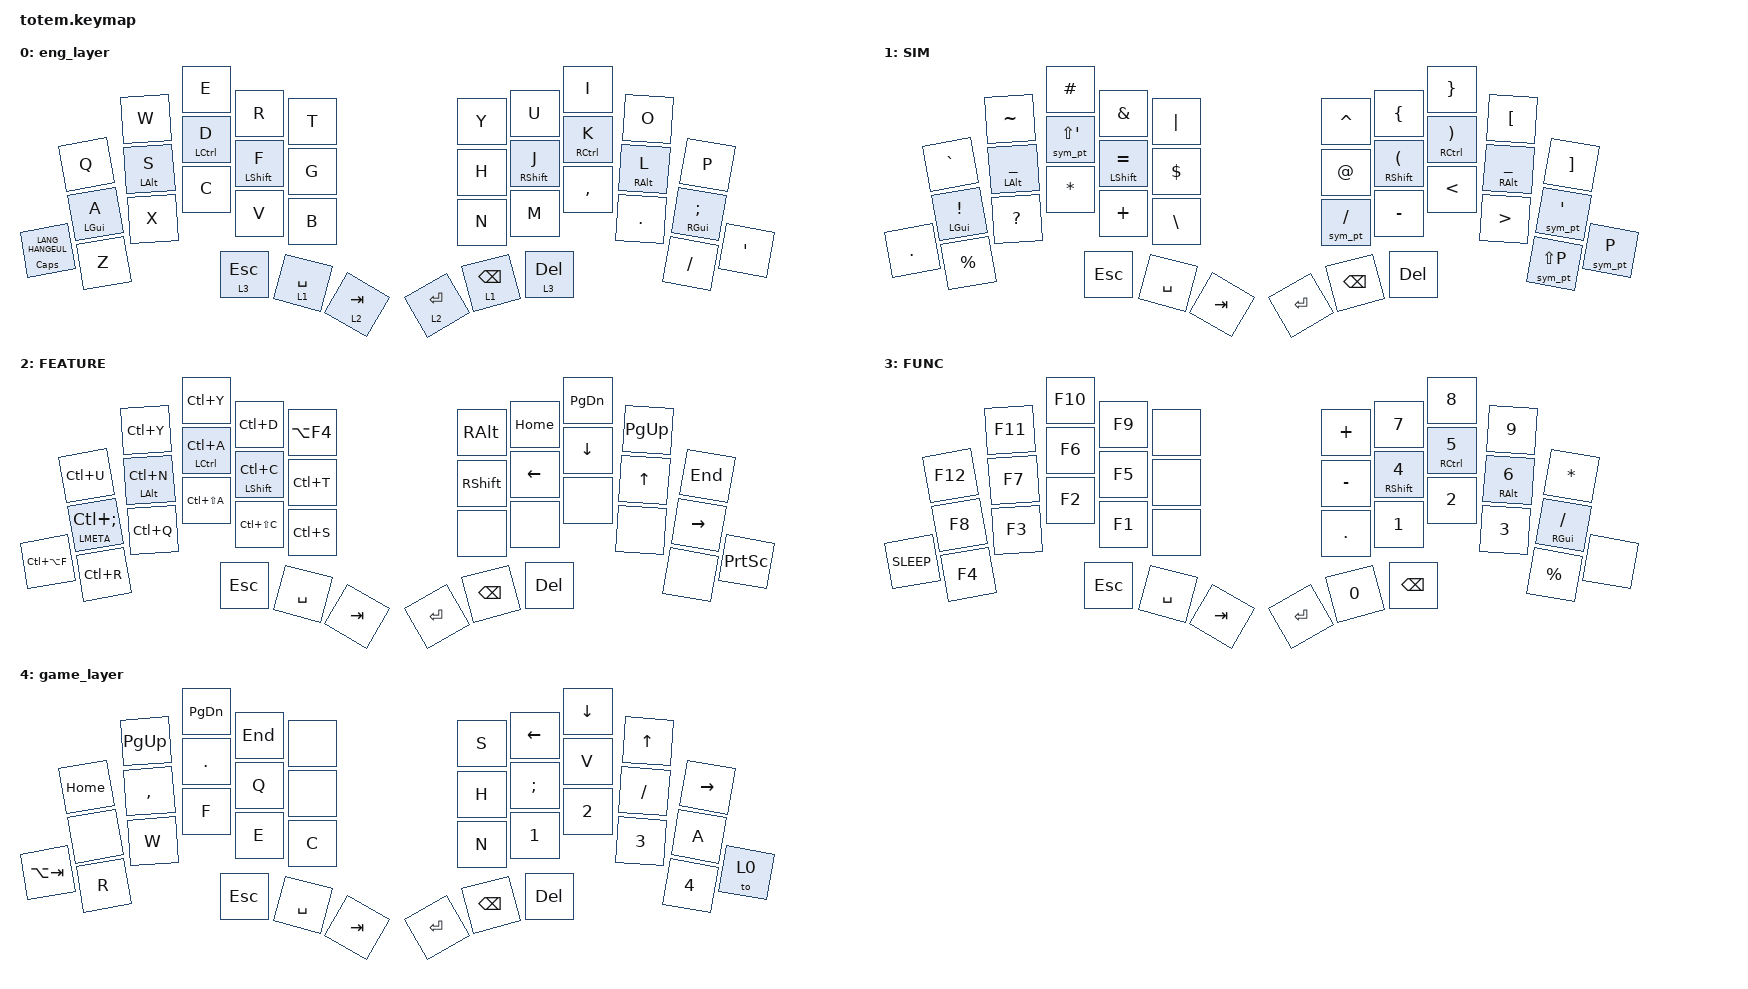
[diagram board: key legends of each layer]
//
//                                                        ▀▀▀▀▀     ▀▀▀▀▀          ▀▀█▀▀
//                                                        ▄▀▀▀▄  ▄  ▄▀▀▀▄  ▄  ▄▀▀▀▄  █  ▄▀▀▀▄
//                                                        █   █  █  █   █  █  █   █  █  █   █
//                                                         ▀▀▀   █   ▀▀▀   █   ▀▀▀   ▀   ▀▀▀
//                                                               █      ▄▄▄█▄▄▄    █   █
//                                                               ▀      █  █  █     █▄█
//                                                             ▀▀▀▀▀    █  █  █      ▀
//                                                                      ▀  ▀  ▀
//
// ▄▄▄▄▄▄▄▄▄▄▄▄▄▄▄▄▄▄▄▄▄▄▄▄▄▄▄▄▄▄▄▄▄▄▄▄▄▄▄▄▄▄▄▄▄▄▄▄▄▄▄▄▄▄▄▄▄▄▄▄▄▄▄▄▄▄▄▄▄▄▄▄▄▄▄▄▄▄▄▄▄▄▄▄▄▄▄▄▄▄▄▄▄▄▄▄▄▄▄▄▄▄▄▄▄▄▄▄▄▄▄▄▄▄▄▄▄▄▄▄▄▄▄▄▄▄▄▄▄▄▄▄▄▄▄▄▄▄▄▄▄▄▄▄▄▄▄▄▄

#include <behaviors.dtsi>
#include <dt-bindings/zmk/keys.h>

#define BASE 0
#define NAV  1
#define SYM  2
#define ADJ  3

&mt {
    quick-tap-ms = <100>;
    global-quick-tap;
    flavor = "tap-preferred";
    tapping-term-ms = <170>;
};

/ {
    combos {
        compatible = "zmk,combos";

        Left_Parenthesis {
            bindings = <&kp LEFT_PARENTHESIS>;
            key-positions = <3 2>;
            timeout-ms = <50>;
            layers = <2 3>;
        };

        Right_Parenthesis {
            bindings = <&kp RIGHT_PARENTHESIS>;
            key-positions = <6 7>;
            layers = <2 3>;
            timeout-ms = <50>;
        };

        Left_Brace {
            bindings = <&kp LEFT_BRACE>;
            key-positions = <1 2>;
            timeout-ms = <50>;
            layers = <2 3>;
        };

        Right_Brace {
            bindings = <&kp RIGHT_BRACE>;
            key-positions = <8 7>;
            timeout-ms = <50>;
            layers = <2 3>;
        };

        Right_Bracket {
            bindings = <&kp RIGHT_BRACKET>;
            key-positions = <16 17>;
            timeout-ms = <50>;
            layers = <2 3>;
        };

        Left_Bracket {
            bindings = <&kp LEFT_BRACKET>;
            key-positions = <13 12>;
            timeout-ms = <50>;
            layers = <3 2>;
        };

        Double_Quote {
            // Canary AD10+Shift = `"`. ZMK sends HID_P+Shift, INT5 wrap.

            bindings = <&sym_pt LS(P)>;
            key-positions = <18 17>;
            timeout-ms = <50>;
            layers = <3 2>;
        };

        Single_Quote {
            // Canary AD10 = `'`. ZMK sends HID_P, INT5 wrap.

            bindings = <&sym_pt P>;
            key-positions = <11 12>;
            timeout-ms = <50>;
            layers = <3 2>;
        };

        game {
            bindings = <&to 4>;
            key-positions = <20 31>;
            layers = <0>;
        };
    };

    behaviors {
        hm: homerow_mods {
            compatible = "zmk,behavior-hold-tap";
            label = "HOMEROW_MODS";
            bindings = <&kp>, <&kp>;

            #binding-cells = <2>;
            tapping-term-ms = <200>;
            quick-tap-ms = <130>;
            flavor = "tap-preferred";
        };
    };

    macros {
        // sym_pt: Sinsebeolsik P2 IME가 가로채는 키(`;`, `'`, `/`, `"`)를
        // INT5 (Muhenkan)으로 감싸 host로 강제 통과시킨다.
        // fcitx5-sinsebeolsik-p2의 INT5 passthrough 패치와 짝.
        // 사용 예: &sym_pt SEMICOLON   대신 &kp SEMICOLON

        sym_pt: sym_passthrough {
            compatible = "zmk,behavior-macro-one-param";
            #binding-cells = <1>;
            bindings =
                <&macro_press>,
                <&kp INT5 &macro_param_1to1>,
                <&macro_press>,
                <&kp MACRO_PLACEHOLDER>,
                <&macro_pause_for_release>,
                <&macro_param_1to1>,
                <&macro_release>,
                <&kp MACRO_PLACEHOLDER>,
                <&macro_release>,
                <&kp INT5>;
        };
    };

    keymap {
        compatible = "zmk,keymap";

        // ▄▄▄▄▄▄▄▄▄▄▄▄▄▄▄▄▄▄▄▄▄▄▄▄▄▄▄▄▄▄▄▄▄▄▄▄▄▄▄▄▄▄▄▄▄▄▄▄▄▄▄▄▄▄▄▄▄▄▄▄▄▄▄▄▄▄▄▄▄▄▄▄▄▄▄▄▄▄▄▄▄▄▄▄▄▄▄▄▄▄▄▄▄▄▄▄▄▄▄▄▄▄▄▄▄▄▄▄▄▄▄▄▄▄▄▄▄▄▄▄▄▄▄▄▄▄▄▄▄▄▄▄▄▄▄▄▄▄▄▄▄▄▄▄▄▄▄▄▄
        // ▄▄▄▄▄▄▄▄▄▄▄▄▄▄▄▄▄▄▄▄▄▄▄▄▄▄▄▄▄▄▄▄▄▄▄▄▄▄▄▄▄▄▄▄▄▄▄▄▄▄▄▄▄▄▄▄▄▄▄▄▄▄▄▄▄▄▄▄▄▄▄▄▄▄▄▄▄▄▄▄▄▄▄▄▄▄▄▄▄▄▄▄▄▄▄▄▄▄▄▄▄▄▄▄▄▄▄▄▄▄▄▄▄▄▄▄▄▄▄▄▄▄▄▄▄▄▄▄▄▄▄▄▄▄▄▄▄▄▄▄▄▄▄▄▄▄▄▄▄
        // ▄▄▄▄▄▄▄▄▄▄▄▄▄▄▄▄▄▄▄▄▄▄▄▄▄▄▄▄▄▄▄▄▄▄▄▄▄▄▄▄▄▄▄▄▄▄▄▄▄▄▄▄▄▄▄▄▄▄▄▄▄▄▄▄▄▄▄▄▄▄▄▄▄▄▄▄▄▄▄▄▄▄▄▄▄▄▄▄▄▄▄▄▄▄▄▄▄▄▄▄▄▄▄▄▄▄▄▄▄▄▄▄▄▄▄▄▄▄▄▄▄▄▄▄▄▄▄▄▄▄▄▄▄▄▄▄▄▄▄▄▄▄▄▄▄▄▄▄▄
        // ▄▄▄▄▄▄▄▄▄▄▄▄▄▄▄▄▄▄▄▄▄▄▄▄▄▄▄▄▄▄▄▄▄▄▄▄▄▄▄▄▄▄▄▄▄▄▄▄▄▄▄▄▄▄▄▄▄▄▄▄▄▄▄▄▄▄▄▄▄▄▄▄▄▄▄▄▄▄▄▄▄▄▄▄▄▄▄▄▄▄▄▄▄▄▄▄▄▄▄▄▄▄▄▄▄▄▄▄▄▄▄▄▄▄▄▄▄▄▄▄▄▄▄▄▄▄▄▄▄▄▄▄▄▄▄▄▄▄▄▄▄▄▄▄▄▄▄▄▄

        eng_layer {
            bindings = <
                       &kp Q       &kp W       &kp E        &kp R         &kp T        &kp Y        &kp U            &kp I        &kp O       &kp P
                       &hm LGUI A  &hm LALT S  &hm LCTRL D  &hm LSHIFT F  &kp G        &kp H        &hm RSHIFT J     &hm RCTRL K  &hm RALT L  &hm RGUI SEMICOLON
&hm CAPS LANG_HANGEUL  &kp Z       &kp X       &kp C        &kp V         &kp B        &kp N        &kp M            &kp COMMA    &kp DOT     &kp FSLH            &kp SQT
                                               &lt 3 ESC    &lt 1 SPACE   &lt 2 TAB    &lt 2 ENTER  &lt 1 BACKSPACE  &lt 3 DEL
            >;
        };

        sim_layer {
            // Canary noangle 레이아웃 + P2 IME 호환:
            //   ZMK keysym은 QWERTY HID 위치를 보내고, Canary가 그 위치를
            //   다른 글자로 매핑한다. 따라서 원하는 글자별로 적절한 HID를
            //   골라야 한다.
            //
            //   `:` ← Canary AC11+Shift (HID_APOS+Shift = LS(SQT))
            //   `;` ← Canary AC11        (HID_APOS = SQT)
            //   `/` ← Canary AB10        (HID_FSLH = FSLH)
            //   `"` ← Canary AD10+Shift  (HID_P+Shift = LS(P))
            //   `'` ← Canary AD10        (HID_P = P)
            //
            // 5글자 모두 sym_pt로 INT5 passthrough 처리.
            // (`:`는 P2 TOML이 literal commit하지만 그건 KEY_SEMI+Shift일 때만이고,
            //  Canary의 `:`는 KEY_APOS+Shift이므로 qwerty_translator가 `"`로 번역해
            //  `/` commit으로 나간다. INT5 wrap이 유일한 정답.)

            bindings = <
         &kp GRAVE             &kp TILDE            &kp POUND        &kp AMPERSAND     &kp PIPE      &kp CARET     &kp LEFT_BRACE               &kp RIGHT_BRACE              &kp LBKT             &kp RBKT
         &hm LGUI EXCLAMATION  &hm LALT UNDERSCORE  &sym_pt LS(SQT)  &hm LSHIFT EQUAL  &kp DOLLAR    &kp AT_SIGN   &hm RSHIFT LEFT_PARENTHESIS  &hm RCTRL RIGHT_PARENTHESIS  &hm RALT UNDERSCORE  &sym_pt SQT
&kp DOT  &kp PERCENT           &kp QUESTION         &kp ASTRK        &kp PLUS          &kp BSLH      &sym_pt FSLH  &kp MINUS                    &kp LESS_THAN                &kp GREATER_THAN     &sym_pt LS(P)  &sym_pt P
                                                    &kp ESCAPE       &kp SPACE         &kp TAB       &kp ENTER     &kp BACKSPACE                &kp DELETE
            >;

            label = "SIM";
        };

        command_layer {
            bindings = <
               &kp LC(U)           &kp LC(Y)       &kp LC(Y)        &kp LC(D)         &kp LA(F4)    &kp RALT   &kp HOME  &kp PG_DN  &kp PG_UP  &kp END
               &hm LMETA LC(SEMI)  &hm LALT LC(N)  &hm LCTRL LC(A)  &hm LSHIFT LC(C)  &kp LC(T)     &kp RSHFT  &kp LEFT  &kp DOWN   &kp UP     &kp RIGHT
&kp LC(LA(F))  &kp LC(R)           &kp LC(Q)       &kp LC(LS(A))    &kp LC(LS(C))     &kp LC(S)     &none      &none     &none      &none      &none      &kp PRINTSCREEN
                                                   &kp ESC          &kp SPACE         &kp TAB       &kp ENTER  &kp BSPC  &kp DEL
            >;

            label = "FEATURE";
        };

        num_layer {
            bindings = <
             &kp F12  &kp F11  &kp F10  &kp F9     &none      &kp PLUS   &kp N7         &kp N8        &kp N9       &kp STAR
             &kp F8   &kp F7   &kp F6   &kp F5     &none      &kp MINUS  &hm RSHIFT N4  &hm RCTRL N5  &hm RALT N6  &hm RGUI FSLH
&kp K_SLEEP  &kp F4   &kp F3   &kp F2   &kp F1     &none      &kp DOT    &kp N1         &kp N2        &kp N3       &kp PERCENT    &none
                               &kp ESC  &kp SPACE  &kp TAB    &kp ENTER  &kp N0         &kp BSPC
            >;

            label = "FUNC";
        };

        game_layer {
            bindings = <
             &kp HOME  &kp PAGE_UP  &kp PAGE_DOWN  &kp END    &none      &kp S      &kp LEFT       &kp DOWN  &kp UP    &kp RIGHT
             &none     &kp COMMA    &kp PERIOD     &kp Q      &none      &kp H      &kp SEMICOLON  &kp V     &kp FSLH  &kp A
&kp LA(TAB)  &kp R     &kp W        &kp F          &kp E      &kp C      &kp N      &kp N1         &kp N2    &kp N3    &kp N4     &to 0
                                    &kp ESC        &kp SPACE  &kp TAB    &kp ENTER  &kp BSPC       &kp DEL
            >;
        };
    };
};
